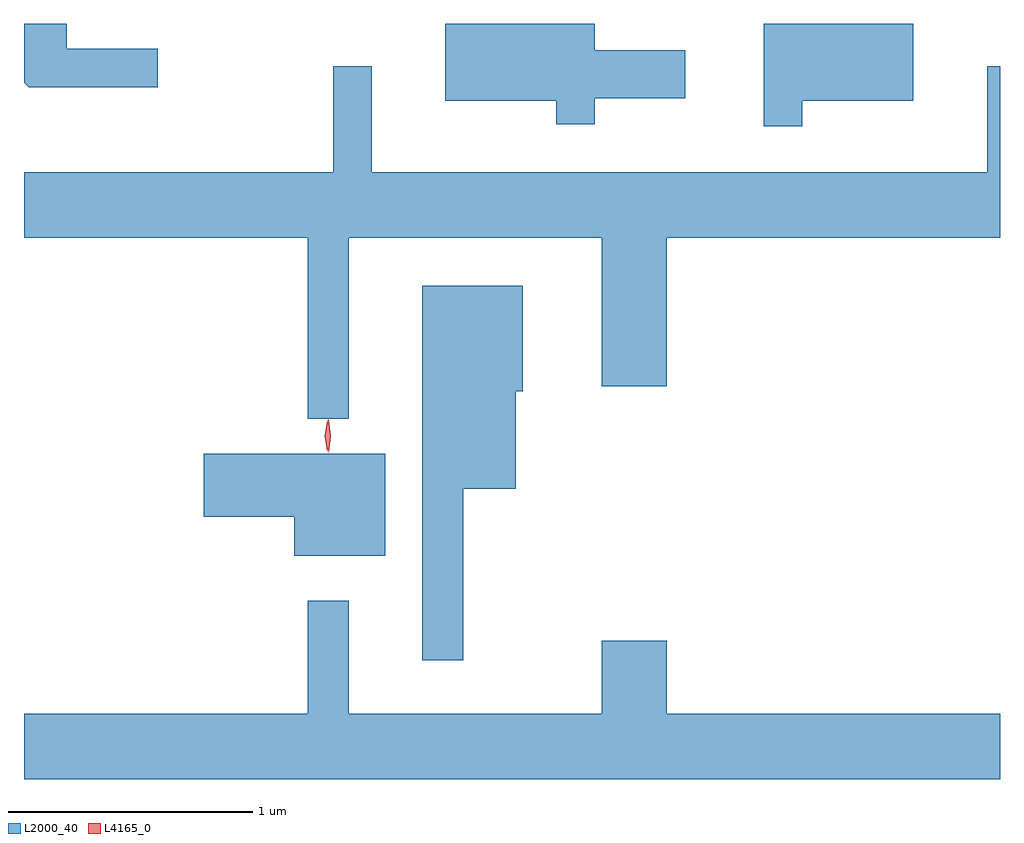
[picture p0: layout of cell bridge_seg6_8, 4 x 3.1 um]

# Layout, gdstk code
import gdstk
lib = gdstk.Library(unit=1e-6, precision=1e-09)
def P(c, l, *ps):  # polygons
    for p in ps: c.add(gdstk.Polygon(p, *l))
L2000_40 = (2000, 40)
L4165_0 = (4165, 0)

bridge_seg6_8 = lib.new_cell('bridge_seg6_8')
P(bridge_seg6_8, L2000_40, [(1454.659,1643.836),(1455.114,1643.836),(1455.114,1644.152),(1454.501,1644.152),(1454.501,1643.733),(1454.659,1643.733)],
  [(1452.018,1644.049),(1451.644,1644.049),(1451.644,1644.152),(1451.469,1644.152),(1451.469,1643.911),(1451.489,1643.891),(1452.018,1643.891)],
  [(1453.809,1643.846),(1454.179,1643.846),(1454.179,1644.044),(1453.809,1644.044),(1453.809,1644.152),(1453.196,1644.152),(1453.196,1643.836),(1453.651,1643.836),(1453.651,1643.741),(1453.809,1643.741)],
  [(1452.799,1643.276),(1453.836,1643.276),(1453.836,1642.666),(1454.104,1642.666),(1454.104,1643.276),(1455.469,1643.276),(1455.469,1643.978),(1455.416,1643.978),(1455.416,1643.544),(1452.894,1643.544),(1452.894,1643.978),(1452.736,1643.978),(1452.736,1643.544),(1451.469,1643.544),(1451.469,1643.276),(1452.631,1643.276),(1452.631,1642.533),(1452.799,1642.533)],
  [(1453.269,1642.246),(1453.484,1642.246),(1453.484,1642.646),(1453.514,1642.646),(1453.514,1643.079),(1453.101,1643.079),(1453.101,1641.543),(1453.269,1641.543)],
  [(1452.949,1642.389),(1452.206,1642.389),(1452.206,1642.131),(1452.576,1642.131),(1452.576,1641.971),(1452.949,1641.971)],
  [(1455.469,1641.324),(1454.104,1641.324),(1454.104,1641.624),(1453.836,1641.624),(1453.836,1641.324),(1452.799,1641.324),(1452.799,1641.788),(1452.631,1641.788),(1452.631,1641.324),(1451.469,1641.324),(1451.469,1641.056),(1455.469,1641.056)])
P(bridge_seg6_8, L4165_0, [(1452.717,1642.394),(1452.717,1642.394),(1452.707,1642.462),(1452.716,1642.53),(1452.717,1642.53),(1452.717,1642.53),(1452.727,1642.462),(1452.718,1642.394)],
  [(1452.712,1642.4),(1452.712,1642.4),(1452.702,1642.463),(1452.712,1642.526),(1452.712,1642.527),(1452.712,1642.526),(1452.722,1642.463),(1452.712,1642.4)])

lib.write_gds('bridge_seg6_8.gds')
